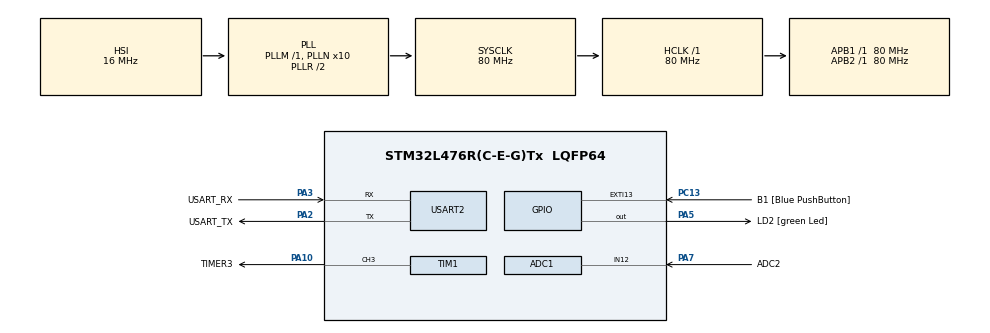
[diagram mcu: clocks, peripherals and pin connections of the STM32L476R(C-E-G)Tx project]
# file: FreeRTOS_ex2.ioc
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ADC1.Channel-1\#ChannelRegularConversion=ADC_CHANNEL_12
ADC1.ClockPrescaler=ADC_CLOCK_ASYNC_DIV8
ADC1.DMAContinuousRequests=ENABLE
ADC1.ExternalTrigConv=ADC_EXTERNALTRIG_T6_TRGO
ADC1.NbrOfConversionFlag=1
ADC1.OffsetNumber-1\#ChannelRegularConversion=ADC_OFFSET_NONE
ADC1.Rank-1\#ChannelRegularConversion=1
ADC1.SamplingTime-1\#ChannelRegularConversion=ADC_SAMPLETIME_640CYCLES_5
ADC1.master=1
Dma.ADC1.0.Direction=DMA_PERIPH_TO_MEMORY
Dma.ADC1.0.Instance=DMA1_Channel1
Dma.ADC1.0.MemDataAlignment=DMA_MDATAALIGN_HALFWORD
Dma.ADC1.0.MemInc=DMA_MINC_ENABLE
Dma.ADC1.0.Mode=DMA_CIRCULAR
Dma.ADC1.0.PeriphDataAlignment=DMA_PDATAALIGN_HALFWORD
Dma.ADC1.0.PeriphInc=DMA_PINC_DISABLE
Dma.ADC1.0.Priority=DMA_PRIORITY_LOW
Dma.Request0=ADC1
FREERTOS.Tasks01=defaultTask,24,128,StartDefaultTask,Default,NULL,Dynamic,NULL,NULL
FREERTOS.configUSE_OS2_EVENTFLAGS_FROM_ISR=0
FREERTOS.configUSE_OS2_MUTEX=0
FREERTOS.configUSE_OS2_THREAD_ENUMERATE=0
FREERTOS.configUSE_OS2_THREAD_FLAGS=0
FREERTOS.configUSE_OS2_THREAD_SUSPEND_RESUME=0
FREERTOS.configUSE_OS2_TIMER=0
Mcu.Family=STM32L4
Mcu.Name=STM32L476R(C-E-G)Tx
Mcu.Package=LQFP64
Mcu.UserConstants=TIM_PRESCALER,7999;TIM_PERIOD,9999
NVIC.DMA1_Channel1_IRQn=true\:5\:0\:false\:false\:true\:true\:false\:true\:true
NVIC.PriorityGroup=NVIC_PRIORITYGROUP_4
NVIC.TIM6_DAC_IRQn=true\:5\:0\:false\:false\:true\:true\:true\:true\:true
PA10.GPIO_Label=TIMER3
PA10.Signal=S_TIM1_CH3
PA13\ (JTMS-SWDIO).GPIO_Label=TMS
PA13\ (JTMS-SWDIO).Mode=Serial_Wire
PA13\ (JTMS-SWDIO).Signal=SYS_JTMS-SWDIO
PA14\ (JTCK-SWCLK).GPIO_Label=TCK
PA14\ (JTCK-SWCLK).Mode=Serial_Wire
PA14\ (JTCK-SWCLK).Signal=SYS_JTCK-SWCLK
PA2.GPIO_Label=USART_TX
PA2.GPIO_Mode=GPIO_MODE_AF_PP
PA2.GPIO_PuPd=GPIO_NOPULL
PA2.GPIO_Speed=GPIO_SPEED_FREQ_VERY_HIGH
PA2.Mode=Asynchronous
PA2.Signal=USART2_TX
PA3.GPIO_Label=USART_RX
PA3.GPIO_Mode=GPIO_MODE_AF_PP
PA3.GPIO_PuPd=GPIO_NOPULL
PA3.GPIO_Speed=GPIO_SPEED_FREQ_VERY_HIGH
PA3.Mode=Asynchronous
PA3.Signal=USART2_RX
PA5.GPIO_Label=LD2 [green Led]
PA5.GPIO_ModeDefaultOutputPP=GPIO_MODE_OUTPUT_PP
PA5.GPIO_PuPd=GPIO_NOPULL
PA5.GPIO_Speed=GPIO_SPEED_FREQ_LOW
PA5.Signal=GPIO_Output
PA7.GPIO_Label=ADC2
PA7.Signal=ADCx_IN12
PB3\ (JTDO-TRACESWO).GPIO_Label=SWO
PB3\ (JTDO-TRACESWO).Signal=SYS_JTDO-SWO
PC13.GPIO_Label=B1 [Blue PushButton]
PC13.GPIO_ModeDefaultEXTI=GPIO_MODE_IT_FALLING
PC13.GPIO_PuPd=GPIO_NOPULL
PC13.Signal=GPXTI13
PC14-OSC32_IN\ (PC14).Mode=LSE-External-Oscillator
PC14-OSC32_IN\ (PC14).Signal=RCC_OSC32_IN
PC15-OSC32_OUT\ (PC15).Mode=LSE-External-Oscillator
PC15-OSC32_OUT\ (PC15).Signal=RCC_OSC32_OUT
PH0-OSC_IN\ (PH0).Signal=RCC_OSC_IN
PH1-OSC_OUT\ (PH1).Signal=RCC_OSC_OUT
ProjectManager.HeapSize=0x200
ProjectManager.StackSize=0x400
ProjectManager.TargetToolchain=CMake
RCC.ADCFreq_Value=64000000
RCC.AHBFreq_Value=80000000
RCC.APB1Freq_Value=80000000
RCC.APB1TimFreq_Value=80000000
RCC.APB2Freq_Value=80000000
RCC.APB2TimFreq_Value=80000000
RCC.CortexFreq_Value=80000000
RCC.HCLKFreq_Value=80000000
RCC.HSE_VALUE=8000000
RCC.HSI_VALUE=16000000
RCC.MSI_VALUE=4000000
RCC.PLLN=10
RCC.PLLSourceVirtual=RCC_PLLSOURCE_HSI
RCC.PREFETCH_ENABLE=1
RCC.SYSCLKFreq_VALUE=80000000
RCC.SYSCLKSource=RCC_SYSCLKSOURCE_PLLCLK
RCC.USBFreq_Value=64000000
RCC.VCOOutputFreq_Value=160000000
SH.ADCx_IN12.0=ADC1_IN12,IN12-Single-Ended
SH.S_TIM1_CH3.0=TIM1_CH3,PWM Generation3 CH3
TIM1.Channel-PWM\ Generation3\ CH3=TIM_CHANNEL_3
TIM1.Period=5999
TIM1.Prescaler=39999
TIM1.Pulse-PWM\ Generation3\ CH3=2999
TIM6.Period=TIM_PERIOD
TIM6.Prescaler=TIM_PRESCALER
TIM6.TIM_MasterOutputTrigger=TIM_TRGO_UPDATE
USART2.VirtualMode-Asynchronous=VM_ASYNC
VP_FREERTOS_VS_CMSIS_V2.Mode=CMSIS_V2
VP_TIM6_VS_ClockSourceINT.Mode=Enable_Timer
board=NUCLEO-L476RG

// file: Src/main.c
/* USER CODE BEGIN Header */
/**
 ******************************************************************************
 * @file           : main.c
 * @brief          : Main program body
 ******************************************************************************
 * @attention
 *
 * <h2><center>&copy; Copyright (c) 2019 STMicroelectronics.
 * All rights reserved.</center></h2>
 *
 * This software component is licensed by ST under BSD 3-Clause license,
 * the "License"; You may not use this file except in compliance with the
 * License. You may obtain a copy of the License at:
 *                        opensource.org/licenses/BSD-3-Clause
 *
 ******************************************************************************
 */
/* USER CODE END Header */
#include "stdio.h"
#include "main.h"
#include "cmsis_os.h"
#include "adc.h"
#include "dma.h"
#include "tim.h"
#include "usart.h"
#include "gpio.h"

#include "FreeRTOS.h"
#include "semphr.h"
#include "queue.h"
/* USER CODE BEGIN Includes */

// --> include all necessary headers for
// printf() redirection
// FreeRTOS related headers
/* USER CODE END Includes */

void SystemClock_Config(void);
void MX_FREERTOS_Init(void);

/* USER CODE BEGIN 0 */

typedef struct {
    uint16_t measurement;
    uint32_t counter;
} queue_data_t;

QueueHandle_t mailbox;

enum QueueStatus {
	QueueOK, QueueWriteProblem, QueueEmpty, QueueCantRead
};

enum QueueMessages {
	QueueMsgNoData, QueueMsgNewData, QueueMsgNewDataChange,
};

uint32_t measurement;
uint8_t queueError = QueueOK;
SemaphoreHandle_t mutex;
QueueHandle_t queue;

void measureTask(void *args) {
	TickType_t xLastWakeTime;
	BaseType_t xStatus;

	xLastWakeTime = xTaskGetTickCount();

	for (;;) {
    BaseType_t xStatus = xQueueSendToBack(queue, &measurement, 0);

    if (xSemaphoreTake(mutex, 10/portTICK_PERIOD_MS) == pdTRUE) {
        if (xStatus == pdPASS) {
            queueError = QueueOK;
        } else {
            queueError = QueueWriteProblem;
        }
        xSemaphoreGive(mutex);
    }

    vTaskDelayUntil(&xLastWakeTime, 300/portTICK_PERIOD_MS);
	}
}

void measureTask_1(void *args) {
    TickType_t xLastWakeTime = xTaskGetTickCount();
    uint32_t internal_counter = 0;
    queue_data_t data_to_send;

    for (;;) {
        internal_counter++;

        data_to_send.measurement = measurement;
        data_to_send.counter = internal_counter;

        xQueueOverwrite(mailbox, &data_to_send);

        vTaskDelayUntil(&xLastWakeTime, 1000/portTICK_PERIOD_MS);
    }
}

void commTask(void *args) {
	TickType_t xLastWakeTime;
  uint16_t measurement_local = 0;
  uint16_t flag_local;
  uint16_t histeresis = 500; // Initialize with the slow period (500ms)
  BaseType_t queue_size;
  BaseType_t xStatus;

  xLastWakeTime = xTaskGetTickCount();

  for (;;) {
    queue_size = uxQueueMessagesWaiting(queue);

    if (queue_size > 12) {
      histeresis = 100; // Switch to fast mode
    } else if (queue_size < 4) {
      histeresis = 500; // Switch to slow mode
    }
    // Note: if queue_size is between 4 and 12, 'histeresis' remains unchanged

    xStatus = xQueueReceive(queue, &measurement_local, 0);

    if (xSemaphoreTake(mutex, 10/portTICK_PERIOD_MS) == pdTRUE) {
      if (xStatus == pdPASS) {
        queueError = QueueOK;
      } else {
        if (queue_size == 0) {
          queueError = QueueEmpty;
        } else {
          queueError = QueueCantRead;
        }
      }
      flag_local = queueError;
      xSemaphoreGive(mutex);
    }

    printf("time: %lu, measured value: %u, queue size %u, error %u\r\n",
           xTaskGetTickCount(),
           measurement_local,
           (unsigned int)queue_size,
           flag_local);

    vTaskDelayUntil(&xLastWakeTime, histeresis/portTICK_PERIOD_MS);
  }
}

void commTask_1(void *args) {
    TickType_t xLastWakeTime = xTaskGetTickCount();
    queue_data_t local_data;
    uint32_t last_seen_counter = 0;

    for (;;) {
        if (xQueuePeek(mailbox, &local_data, 0) == pdPASS) {

            if (local_data.counter > last_seen_counter) {
                printf("time: %lu, measured value: %u, counter: %lu\r\n",
                       xTaskGetTickCount(), local_data.measurement, local_data.counter);
                last_seen_counter = local_data.counter;
            } else {
                printf("No new data\r\n");
            }

        } else {
            printf("Queue empty\r\n");
        }

        vTaskDelayUntil(&xLastWakeTime, 400/portTICK_PERIOD_MS);
    }
}

int _write(int file, char *ptr, int len) {
    HAL_UART_Transmit(&huart2, (uint8_t *) ptr, len, 50);
    return len;
}

/* USER CODE END 0 */

int main(void)
{

  /* MCU Configuration--------------------------------------------------------*/

  /* Reset of all peripherals, Initializes the Flash interface and the Systick. */
  HAL_Init();

  /* Configure the system clock */
  SystemClock_Config();

  /* Initialize all configured peripherals */
  MX_GPIO_Init();
  MX_DMA_Init();
  MX_USART2_UART_Init();
  MX_ADC1_Init();
  MX_TIM6_Init();
  MX_TIM1_Init();
  /* USER CODE BEGIN 2 */

	// --> start TIM1 to generate PWM signal on TIMER3 connector
	// --> start TIM6 in interrupt
	// --> start ADC1 in DMA mode
	// --> create a mutex
	// --> create a queue
	// --> create all necessary tasks
	printf("Starting!\r\n");

	// --> start FreeRTOS scheduler

  mutex = xSemaphoreCreateMutex();
  queue = xQueueCreate(15, sizeof(uint16_t));
  mailbox = xQueueCreate(1, sizeof(queue_data_t));

  // xTaskCreate(measureTask, "measure", configMINIMAL_STACK_SIZE * 2, NULL, 2, NULL);
  // xTaskCreate(commTask, "comm", configMINIMAL_STACK_SIZE * 2, NULL, 1, NULL);

  xTaskCreate(commTask_1, "comm", configMINIMAL_STACK_SIZE * 2, NULL, 1, NULL);
  xTaskCreate(measureTask_1, "measure", configMINIMAL_STACK_SIZE * 2, NULL, 10, NULL);
  /* USER CODE END 2 */

  /* Init scheduler */

  /* Call init function for freertos objects (in cmsis_os2.c) */

  /* Start scheduler */

  /* We should never get here as control is now taken by the scheduler */

  /* Infinite loop */
  /* USER CODE BEGIN WHILE */
  HAL_TIM_PWM_Start(&htim1, TIM_CHANNEL_3);
	HAL_TIM_Base_Start_IT(&htim6);
	HAL_ADC_Start_DMA(&hadc1, (uint32_t *)&measurement, 1);

  vTaskStartScheduler();

	while (1) {
    /* USER CODE END WHILE */

    /* USER CODE BEGIN 3 */

    printf("Measured value: %lu, time: %lu\r\n", measurement, HAL_GetTick());

    HAL_Delay(1000);
	}
  /* USER CODE END 3 */
}

void SystemClock_Config(void)
{
  RCC_OscInitTypeDef RCC_OscInitStruct = {0};
  RCC_ClkInitTypeDef RCC_ClkInitStruct = {0};

  /** Configure the main internal regulator output voltage
  */
  if (HAL_PWREx_ControlVoltageScaling(PWR_REGULATOR_VOLTAGE_SCALE1) != HAL_OK)
  {
    Error_Handler();
  }

  /** Initializes the RCC Oscillators according to the specified parameters
  * in the RCC_OscInitTypeDef structure.
  */
  RCC_OscInitStruct.OscillatorType = RCC_OSCILLATORTYPE_HSI;
  RCC_OscInitStruct.HSIState = RCC_HSI_ON;
  RCC_OscInitStruct.HSICalibrationValue = RCC_HSICALIBRATION_DEFAULT;
  RCC_OscInitStruct.PLL.PLLState = RCC_PLL_ON;
  RCC_OscInitStruct.PLL.PLLSource = RCC_PLLSOURCE_HSI;
  RCC_OscInitStruct.PLL.PLLM = 1;
  RCC_OscInitStruct.PLL.PLLN = 10;
  RCC_OscInitStruct.PLL.PLLP = RCC_PLLP_DIV7;
  RCC_OscInitStruct.PLL.PLLQ = RCC_PLLQ_DIV2;
  RCC_OscInitStruct.PLL.PLLR = RCC_PLLR_DIV2;
  if (HAL_RCC_OscConfig(&RCC_OscInitStruct) != HAL_OK)
  {
    Error_Handler();
  }

  /** Initializes the CPU, AHB and APB buses clocks
  */
  RCC_ClkInitStruct.ClockType = RCC_CLOCKTYPE_HCLK|RCC_CLOCKTYPE_SYSCLK
                              |RCC_CLOCKTYPE_PCLK1|RCC_CLOCKTYPE_PCLK2;
  RCC_ClkInitStruct.SYSCLKSource = RCC_SYSCLKSOURCE_PLLCLK;
  RCC_ClkInitStruct.AHBCLKDivider = RCC_SYSCLK_DIV1;
  RCC_ClkInitStruct.APB1CLKDivider = RCC_HCLK_DIV1;
  RCC_ClkInitStruct.APB2CLKDivider = RCC_HCLK_DIV1;

  if (HAL_RCC_ClockConfig(&RCC_ClkInitStruct, FLASH_LATENCY_4) != HAL_OK)
  {
    Error_Handler();
  }
}

void Error_Handler(void)
{
}
